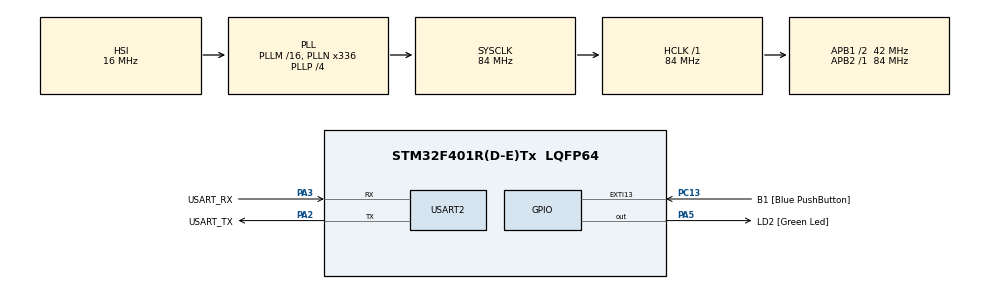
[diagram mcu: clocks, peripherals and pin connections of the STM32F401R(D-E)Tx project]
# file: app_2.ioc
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Mcu.Family=STM32F4
Mcu.Name=STM32F401R(D-E)Tx
Mcu.Package=LQFP64
NVIC.PriorityGroup=NVIC_PRIORITYGROUP_4
PA13.GPIO_Label=TMS
PA13.Mode=Trace_Asynchronous_SW
PA13.Signal=SYS_JTMS-SWDIO
PA14.GPIO_Label=TCK
PA14.Mode=Trace_Asynchronous_SW
PA14.Signal=SYS_JTCK-SWCLK
PA2.GPIO_Label=USART_TX
PA2.GPIO_Mode=GPIO_MODE_AF_PP
PA2.GPIO_PuPd=GPIO_NOPULL
PA2.GPIO_Speed=GPIO_SPEED_FREQ_LOW
PA2.Mode=Asynchronous
PA2.Signal=USART2_TX
PA3.GPIO_Label=USART_RX
PA3.GPIO_Mode=GPIO_MODE_AF_PP
PA3.GPIO_PuPd=GPIO_NOPULL
PA3.GPIO_Speed=GPIO_SPEED_FREQ_LOW
PA3.Mode=Asynchronous
PA3.Signal=USART2_RX
PA5.GPIO_Label=LD2 [Green Led]
PA5.GPIO_Mode=GPIO_MODE_OUTPUT_PP
PA5.GPIO_PuPd=GPIO_NOPULL
PA5.GPIO_Speed=GPIO_SPEED_FREQ_LOW
PA5.Signal=GPIO_Output
PB3.GPIO_Label=SWO
PB3.Mode=Trace_Asynchronous_SW
PB3.Signal=SYS_JTDO-SWO
PC13-ANTI_TAMP.GPIO_Label=B1 [Blue PushButton]
PC13-ANTI_TAMP.GPIO_ModeDefaultEXTI=GPIO_MODE_IT_FALLING
PC13-ANTI_TAMP.GPIO_PuPd=GPIO_NOPULL
PC13-ANTI_TAMP.Signal=GPXTI13
PC14-OSC32_IN.Mode=LSE-External-Oscillator
PC14-OSC32_IN.Signal=RCC_OSC32_IN
PC15-OSC32_OUT.Mode=LSE-External-Oscillator
PC15-OSC32_OUT.Signal=RCC_OSC32_OUT
PH0\ -\ OSC_IN.Mode=HSE-External-Clock-Source
PH0\ -\ OSC_IN.Signal=RCC_OSC_IN
PH1\ -\ OSC_OUT.Mode=HSE-External-Clock-Source
PH1\ -\ OSC_OUT.Signal=RCC_OSC_OUT
ProjectManager.HeapSize=0x200
ProjectManager.StackSize=0x400
ProjectManager.TargetToolchain=STM32CubeIDE
RCC.48MHZClocksFreq_Value=48000000
RCC.AHBFreq_Value=84000000
RCC.APB1CLKDivider=RCC_HCLK_DIV2
RCC.APB1Freq_Value=42000000
RCC.APB1TimFreq_Value=84000000
RCC.APB2Freq_Value=84000000
RCC.APB2TimFreq_Value=84000000
RCC.CortexFreq_Value=84000000
RCC.HCLKFreq_Value=84000000
RCC.HSE_VALUE=8000000
RCC.HSI_VALUE=16000000
RCC.PLLN=336
RCC.PLLP=RCC_PLLP_DIV4
RCC.PLLQ=7
RCC.SYSCLKFreq_VALUE=84000000
RCC.SYSCLKSource=RCC_SYSCLKSOURCE_PLLCLK
RCC.VCOOutputFreq_Value=336000000
USART2.VirtualMode=VM_ASYNC
board=NUCLEO-F401RE

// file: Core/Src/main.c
/* USER CODE BEGIN Header */
/**
  ******************************************************************************
  * @file           : main.c
  * @brief          : Bad Slot B test application for watchdog rollback
  ******************************************************************************
  */
/* USER CODE END Header */

#include "main.h"
#include <stdio.h>
#include "metadata_if.h"

UART_HandleTypeDef huart2;

void SystemClock_Config(void);
static void MX_GPIO_Init(void);
static void MX_USART2_UART_Init(void);

/* USER CODE BEGIN 0 */

int __io_putchar(int ch)
{
    HAL_UART_Transmit(&huart2, (uint8_t *)&ch, 1, HAL_MAX_DELAY);
    return ch;
}
static void confirm_slot_b_boot(void)
{
    boot_metadata_t metadata;

    Metadata_Read(&metadata);

    if (!Metadata_IsValid(&metadata))
    {
        printf("APP2: Metadata invalid, cannot confirm boot\r\n");
        return;
    }

    if (metadata.active_slot == BOOT_SLOT_B &&
        metadata.slot_b_state == SLOT_STATE_PENDING_TEST)
    {
        printf("APP2: Slot B is pending test\r\n");
        printf("APP2: Confirming Slot B boot...\r\n");

        if (Metadata_MarkSlotBValid() == HAL_OK)
        {
            printf("APP2: Slot B marked VALID\r\n");
        }
        else
        {
            printf("APP2: Failed to mark Slot B VALID\r\n");
        }
    }
    else if (metadata.active_slot == BOOT_SLOT_B &&
             metadata.slot_b_state == SLOT_STATE_VALID)
    {
        printf("APP2: Slot B already VALID\r\n");
    }
    else
    {
        printf("APP2: No Slot B confirmation needed\r\n");
    }
}

/* USER CODE END 0 */

int main(void)
{
  HAL_Init();

  SystemClock_Config();

  MX_GPIO_Init();
  MX_USART2_UART_Init();

  /* USER CODE BEGIN 2 */

  HAL_Delay(1000);

  printf("\r\nAPP SLOT B RUNNING\r\n");
  printf("APP2: SLOT B STARTED\r\n");

  HAL_Delay(3000);

  confirm_slot_b_boot();

  while (1)
  {
      HAL_GPIO_TogglePin(GPIOA, GPIO_PIN_5);
      printf("HELLO FROM SLOT B\r\n");
      HAL_Delay(1000);
  }

  /*
   * Do not call Metadata_MarkSlotBValid().
   * Do not refresh the watchdog.
   * The watchdog should reset the MCU.
   */

  /* USER CODE END 2 */
}

void SystemClock_Config(void)
{
  RCC_OscInitTypeDef RCC_OscInitStruct = {0};
  RCC_ClkInitTypeDef RCC_ClkInitStruct = {0};

  __HAL_RCC_PWR_CLK_ENABLE();
  __HAL_PWR_VOLTAGESCALING_CONFIG(PWR_REGULATOR_VOLTAGE_SCALE2);

  RCC_OscInitStruct.OscillatorType = RCC_OSCILLATORTYPE_HSI;
  RCC_OscInitStruct.HSIState = RCC_HSI_ON;
  RCC_OscInitStruct.HSICalibrationValue = RCC_HSICALIBRATION_DEFAULT;
  RCC_OscInitStruct.PLL.PLLState = RCC_PLL_ON;
  RCC_OscInitStruct.PLL.PLLSource = RCC_PLLSOURCE_HSI;
  RCC_OscInitStruct.PLL.PLLM = 16;
  RCC_OscInitStruct.PLL.PLLN = 336;
  RCC_OscInitStruct.PLL.PLLP = RCC_PLLP_DIV4;
  RCC_OscInitStruct.PLL.PLLQ = 7;

  if (HAL_RCC_OscConfig(&RCC_OscInitStruct) != HAL_OK)
  {
    Error_Handler();
  }

  RCC_ClkInitStruct.ClockType = RCC_CLOCKTYPE_HCLK |
                                RCC_CLOCKTYPE_SYSCLK |
                                RCC_CLOCKTYPE_PCLK1 |
                                RCC_CLOCKTYPE_PCLK2;

  RCC_ClkInitStruct.SYSCLKSource = RCC_SYSCLKSOURCE_PLLCLK;
  RCC_ClkInitStruct.AHBCLKDivider = RCC_SYSCLK_DIV1;
  RCC_ClkInitStruct.APB1CLKDivider = RCC_HCLK_DIV2;
  RCC_ClkInitStruct.APB2CLKDivider = RCC_HCLK_DIV1;

  if (HAL_RCC_ClockConfig(&RCC_ClkInitStruct, FLASH_LATENCY_2) != HAL_OK)
  {
    Error_Handler();
  }
}

static void MX_USART2_UART_Init(void)
{
  huart2.Instance = USART2;
  huart2.Init.BaudRate = 115200;
  huart2.Init.WordLength = UART_WORDLENGTH_8B;
  huart2.Init.StopBits = UART_STOPBITS_1;
  huart2.Init.Parity = UART_PARITY_NONE;
  huart2.Init.Mode = UART_MODE_TX_RX;
  huart2.Init.HwFlowCtl = UART_HWCONTROL_NONE;
  huart2.Init.OverSampling = UART_OVERSAMPLING_16;

  if (HAL_UART_Init(&huart2) != HAL_OK)
  {
    Error_Handler();
  }
}

static void MX_GPIO_Init(void)
{
  GPIO_InitTypeDef GPIO_InitStruct = {0};

  __HAL_RCC_GPIOC_CLK_ENABLE();
  __HAL_RCC_GPIOH_CLK_ENABLE();
  __HAL_RCC_GPIOA_CLK_ENABLE();
  __HAL_RCC_GPIOB_CLK_ENABLE();

  HAL_GPIO_WritePin(LD2_GPIO_Port, LD2_Pin, GPIO_PIN_RESET);

  /* User button B1 as normal input */
  GPIO_InitStruct.Pin = B1_Pin;
  GPIO_InitStruct.Mode = GPIO_MODE_INPUT;
  GPIO_InitStruct.Pull = GPIO_NOPULL;
  HAL_GPIO_Init(B1_GPIO_Port, &GPIO_InitStruct);

  /* LD2 LED */
  GPIO_InitStruct.Pin = LD2_Pin;
  GPIO_InitStruct.Mode = GPIO_MODE_OUTPUT_PP;
  GPIO_InitStruct.Pull = GPIO_NOPULL;
  GPIO_InitStruct.Speed = GPIO_SPEED_FREQ_LOW;
  HAL_GPIO_Init(LD2_GPIO_Port, &GPIO_InitStruct);
}

void Error_Handler(void)
{
  __disable_irq();

  while (1)
  {
  }
}
